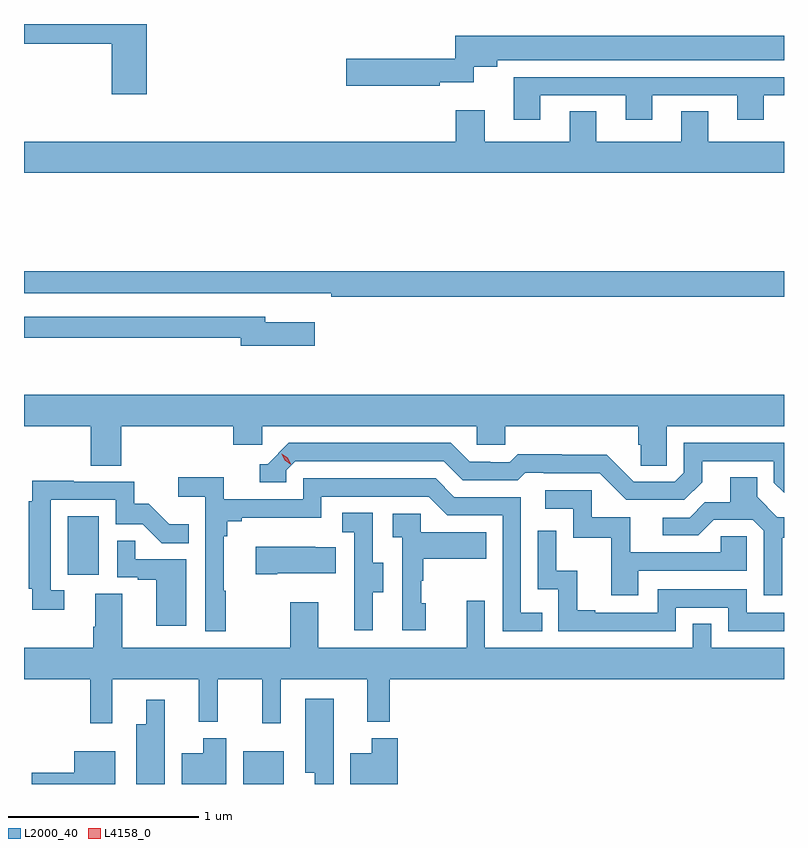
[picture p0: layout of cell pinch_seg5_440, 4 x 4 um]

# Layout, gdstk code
import gdstk
lib = gdstk.Library(unit=1e-6, precision=1e-09)
def R(c, l, rs):  # rectangles x0, y0, x1, y1
    for r in rs: c.add(gdstk.rectangle(r[:2], r[2:], *l))
def P(c, l, *ps):  # polygons
    for p in ps: c.add(gdstk.Polygon(p, *l))
L2000_40 = (2000, 40)
L4158_0 = (4158, 0)

pinch_seg5_440 = lib.new_cell('pinch_seg5_440')
R(pinch_seg5_440, L2000_40, [(945.686,864.2,945.901,864.373), (944.762,865.302,944.926,865.609)])
P(pinch_seg5_440, L2000_40, [(945.179,868.2),(944.533,868.2),(944.533,868.096),(944.996,868.096),(944.996,867.831),(945.179,867.831)],
  [(946.721,867.893),(946.899,867.893),(946.899,867.974),(947.023,867.974),(947.023,868.01),(948.533,868.01),(948.533,868.138),(946.803,868.138),(946.803,868.016),(946.23,868.016),(946.23,867.874),(946.721,867.874)],
  [(947.251,867.825),(947.699,867.825),(947.699,867.696),(947.839,867.696),(947.839,867.825),(948.287,867.825),(948.287,867.696),(948.427,867.696),(948.427,867.825),(948.533,867.825),(948.533,867.921),(947.111,867.921),(947.111,867.696),(947.251,867.696)],
  [(948.533,867.58),(948.133,867.58),(948.133,867.74),(947.993,867.74),(947.993,867.58),(947.545,867.58),(947.545,867.74),(947.405,867.74),(947.405,867.58),(946.957,867.58),(946.957,867.745),(946.805,867.745),(946.805,867.58),(944.533,867.58),(944.533,867.416),(948.533,867.416)],
  [(948.533,866.9),(944.533,866.9),(944.533,866.784),(945.898,866.784),(945.898,866.783),(946.15,866.783),(946.15,866.764),(948.533,866.764)],
  [(946.063,866.629),(945.802,866.629),(945.802,866.658),(944.533,866.658),(944.533,866.55),(945.674,866.55),(945.674,866.507),(946.063,866.507)],
  [(944.533,866.084),(944.884,866.084),(944.884,865.876),(945.044,865.876),(945.044,866.084),(945.635,866.084),(945.635,865.986),(945.786,865.986),(945.786,866.084),(946.917,866.084),(946.917,865.986),(947.067,865.986),(947.067,866.084),(947.765,866.084),(947.765,865.986),(947.779,865.986),(947.779,865.876),(947.916,865.876),(947.916,866.084),(948.533,866.084),(948.533,866.248),(944.533,866.248)],
  [(948.103,865.789),(948.103,865.899),(948.48,865.899),(948.48,865.785),(948.533,865.732),(948.533,865.995),(948.006,865.995),(948.006,865.839),(947.958,865.791),(947.742,865.791),(947.6,865.933),(947.364,865.933),(947.364,865.936),(947.131,865.936),(947.089,865.893),(946.986,865.893),(946.986,865.896),(946.879,865.896),(946.78,865.995),(945.927,865.995),(945.816,865.884),(945.773,865.884),(945.773,865.788),(945.912,865.788),(945.912,865.851),(945.96,865.899),(946.743,865.899),(946.842,865.8),(947.131,865.8),(947.17,865.839),(947.269,865.839),(947.269,865.836),(947.562,865.836),(947.703,865.695),(948.009,865.695)],
  [(948.523,865.497),(948.533,865.497),(948.533,865.605),(948.498,865.605),(948.391,865.712),(948.391,865.814),(948.251,865.814),(948.251,865.682),(948.116,865.682),(948.036,865.602),(947.895,865.602),(947.895,865.509),(948.082,865.509),(948.163,865.59),(948.369,865.59),(948.426,865.533),(948.426,865.194),(948.523,865.194)],
  [(945.595,865.217),(945.583,865.217),(945.583,865.505),(945.602,865.505),(945.602,865.582),(945.679,865.582),(945.679,865.601),(946.098,865.601),(946.098,865.713),(946.662,865.713),(946.761,865.614),(947.052,865.614),(947.052,865.005),(947.261,865.005),(947.261,865.101),(947.148,865.101),(947.148,865.71),(946.798,865.71),(946.699,865.809),(946.002,865.809),(946.002,865.698),(945.584,865.698),(945.584,865.814),(945.345,865.814),(945.345,865.712),(945.486,865.712),(945.486,865.005),(945.595,865.005)],
  [(944.746,865.221),(944.673,865.221),(944.673,865.695),(945.015,865.695),(945.015,865.566),(945.159,865.566),(945.257,865.468),(945.401,865.468),(945.401,865.567),(945.297,865.567),(945.19,865.674),(945.114,865.674),(945.114,865.791),(944.795,865.791),(944.795,865.796),(944.576,865.796),(944.576,865.688),(944.557,865.688),(944.557,865.228),(944.576,865.228),(944.576,865.116),(944.746,865.116)],
  [(947.767,865.323),(948.336,865.323),(948.336,865.503),(948.199,865.503),(948.199,865.419),(947.725,865.419),(947.725,865.605),(947.52,865.605),(947.52,865.746),(947.277,865.746),(947.277,865.65),(947.424,865.65),(947.424,865.497),(947.623,865.497),(947.623,865.194),(947.767,865.194)],
  [(946.369,865.21),(946.423,865.21),(946.423,865.365),(946.368,865.365),(946.368,865.628),(946.209,865.628),(946.209,865.525),(946.272,865.525),(946.272,865.221),(946.271,865.221),(946.271,865.008),(946.369,865.008)],
  [(946.648,865.152),(946.623,865.152),(946.623,865.271),(946.633,865.271),(946.633,865.385),(946.967,865.385),(946.967,865.525),(946.62,865.525),(946.62,865.623),(946.473,865.623),(946.473,865.499),(946.524,865.499),(946.524,865.008),(946.648,865.008)],
  [(947.964,865.128),(948.24,865.128),(948.24,865.005),(948.533,865.005),(948.533,865.101),(948.336,865.101),(948.336,865.224),(947.868,865.224),(947.868,865.101),(947.539,865.101),(947.539,865.114),(947.444,865.114),(947.444,865.322),(947.334,865.322),(947.334,865.534),(947.238,865.534),(947.238,865.224),(947.346,865.224),(947.346,865.005),(947.964,865.005)],
  [(945.388,865.383),(945.119,865.383),(945.119,865.481),(945.024,865.481),(945.024,865.287),(945.131,865.287),(945.131,865.275),(945.23,865.275),(945.23,865.032),(945.388,865.032)],
  [(945.865,865.31),(946.175,865.31),(946.175,865.447),(946.067,865.447),(946.067,865.45),(945.753,865.45),(945.753,865.303),(945.865,865.303)],
  [(945.049,865.202),(944.909,865.202),(944.909,865.028),(944.897,865.028),(944.897,864.916),(944.533,864.916),(944.533,864.752),(944.881,864.752),(944.881,864.519),(944.997,864.519),(944.997,864.752),(945.452,864.752),(945.452,864.527),(945.552,864.527),(945.552,864.752),(945.787,864.752),(945.787,864.519),(945.885,864.519),(945.885,864.752),(946.34,864.752),(946.34,864.527),(946.457,864.527),(946.457,864.752),(948.533,864.752),(948.533,864.916),(948.15,864.916),(948.15,865.043),(948.054,865.043),(948.054,864.916),(946.959,864.916),(946.959,865.165),(946.862,865.165),(946.862,864.916),(946.081,864.916),(946.081,865.156),(945.934,865.156),(945.934,864.916),(945.049,864.916)],
  [(946.162,864.649),(946.013,864.649),(946.013,864.26),(946.064,864.26),(946.064,864.2),(946.162,864.2)],
  [(945.274,864.357),(945.273,864.357),(945.273,864.643),(945.176,864.643),(945.176,864.514),(945.125,864.514),(945.125,864.2),(945.274,864.2)],
  [(945.598,864.442),(945.476,864.442),(945.476,864.361),(945.362,864.361),(945.362,864.2),(945.598,864.2)],
  [(946.499,864.442),(946.364,864.442),(946.364,864.361),(946.25,864.361),(946.25,864.2),(946.499,864.2)],
  [(945.013,864.373),(944.798,864.373),(944.798,864.26),(944.574,864.26),(944.574,864.2),(945.013,864.2)])
P(pinch_seg5_440, L4158_0, [(945.935,865.884),(945.905,865.905),(945.89,865.938),(945.89,865.938),(945.89,865.938),(945.92,865.918),(945.936,865.885),(945.936,865.884)])

lib.write_gds('pinch_seg5_440.gds')
